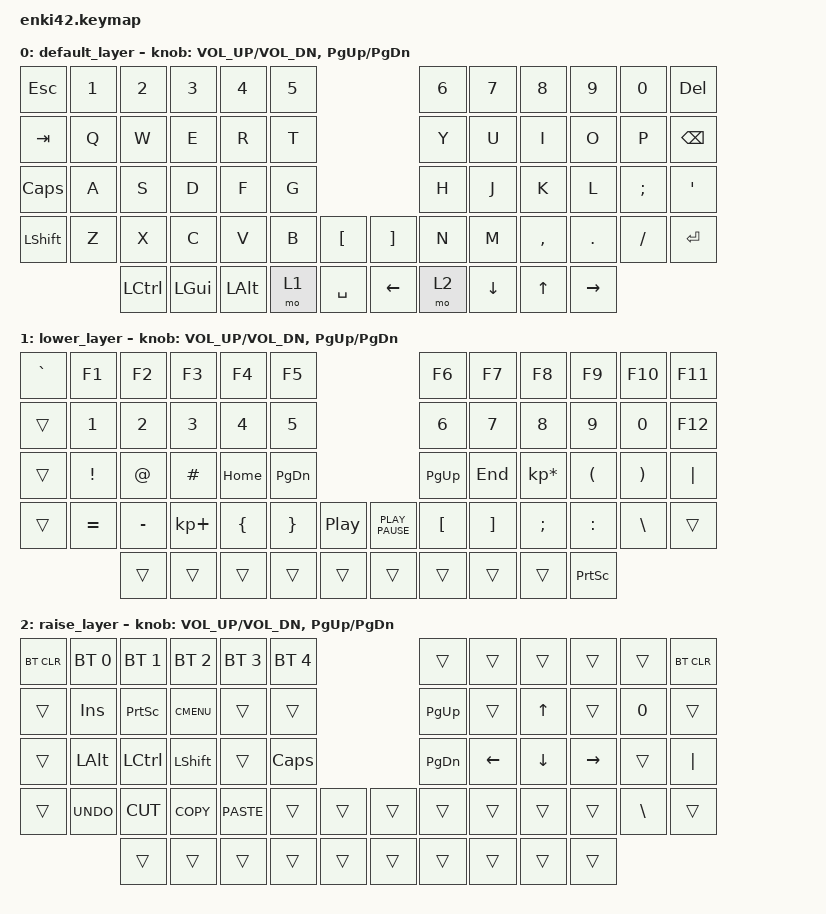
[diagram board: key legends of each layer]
/*
 * Copyright (c) 2020 The ZMK Contributors
 *
 * SPDX-License-Identifier: MIT
 */

#include <behaviors.dtsi>
#include <dt-bindings/zmk/keys.h>
#include <dt-bindings/zmk/bt.h>

#include <dt-bindings/zmk/ext_power.h>

#define DEF 0
#define LWR 1
#define RSE 2
#define ADJ 3

&lt { quick_tap_ms = <220>; };
&mt { quick_tap_ms = <220>; };

/ {
    macros {
        numdot: numdot {
            label = "ZM_numdot";
            compatible = "zmk,behavior-macro";
            #binding-cells = <0>;
            wait-ms = <40>;
            tap-ms = <40>;
            bindings
                = <&macro_press   &kp LALT>    
                , <&macro_tap     &kp KP_N4 &kp KP_N6>    
                , <&macro_release &kp LALT>
                ;
        };
        grtsgn: grtsgn {
            label = "ZM_grtsgn";
            compatible = "zmk,behavior-macro";
            #binding-cells = <0>;
            wait-ms = <40>;
            tap-ms = <40>;
            bindings
                = <&macro_press   &kp LALT>    
                , <&macro_tap     &kp KP_N6 &kp KP_N2>    
                , <&macro_release &kp LALT>
                ;
        };
    };
};
{
    keymap {
        compatible = "zmk,keymap";

        default_layer {
            // ------------------------------------------------------------------------------------------------------------
            // |  `    |  1  |  2  |  3   |  4   |  5   |                         |  6   |  7    |  8    |  9   |   0   |       |
            // |  ESC  |  Q  |  W  |  E   |  R   |  T   |                         |  Y   |  U    |  I    |  O   |   P   | BKSPC |
            // |  TAB  |  A  |  S  |  D   |  F   |  G   |                         |  H   |  J    |  K    |  L   |   ;   |   '   |
            // | SHIFT |  Z  |  X  |  C   |  V   |  B   |  MUTE  |        | ExtPw |  N   |  M    |  ,    |  .   |   /   | SHIFT |
            //               | GUI | ALT  | CTRL | LOWER|  ENTER |        | SPACE | RAISE| CTRL  | ALT   | GUI  |

            bindings = <
&kp ESCAPE    &kp N1  &kp N2            &kp N3        &kp N4        &kp N5                                         &kp N6  &kp N7          &kp N8        &kp N9           &kp N0    &kp DELETE
&kp TAB       &kp Q   &kp W             &kp E         &kp R         &kp T                                          &kp Y   &kp U           &kp I         &kp O            &kp P     &kp BSPC
&kp CAPSLOCK  &kp A   &kp S             &kp D         &kp F         &kp G                                          &kp H   &kp J           &kp K         &kp L            &kp SEMI  &kp SQT
&kp LSHFT     &kp Z   &kp X             &kp C         &kp V         &kp B   &kp LEFT_BRACKET    &kp RIGHT_BRACKET  &kp N   &kp M           &kp COMMA     &kp DOT          &kp FSLH  &kp ENTER
                      &kp LEFT_CONTROL  &kp LEFT_GUI  &kp LEFT_ALT  &mo 1   &kp SPACE           &kp LEFT_ARROW     &mo 2   &kp DOWN_ARROW  &kp UP_ARROW  &kp RIGHT_ARROW
            >;

            sensor-bindings = <&inc_dec_kp C_VOL_UP C_VOL_DN &inc_dec_kp PG_UP PG_DN>;
        };

        lower_layer {
            // TODO: Some binds are waiting for shifted keycode support.
            // ------------------------------------------------------------------------------------------------------------
            // |       |  F1 |  F2 |  F3  |  F4  |  F5  |                   |  F6  |  F7   |  F8   |  F9  |  F10  |  F11  |
            // | `     |   1 |   2 |   3  |   4  |   5  |                   |   6  |   7   |   8   |   9  |    0  |  F12  |
            // |       |  !  |  @  |  #   |  $   |  %   |                   |  ^   |  &    |  *    |  (   |   )   |   |   |
            // |       |  =  |  -  |  +   |  {   |  }   |        |  |       |  [   |  ]    |  ;    |  :   |   \   |       |
            //               |     |      |      |      |        |  |       |      |       |       |      |

            bindings = <
&kp GRAVE  &kp F1     &kp F2     &kp F3       &kp F4    &kp F5                                               &kp F6       &kp F7    &kp F8           &kp F9           &kp F10   &kp F11
&trans     &kp N1     &kp N2     &kp N3       &kp N4    &kp N5                                               &kp N6       &kp N7    &kp N8           &kp N9           &kp N0    &kp F12
&trans     &kp EXCL   &kp AT     &kp HASH     &kp HOME  &kp PAGE_DOWN                                        &kp PAGE_UP  &kp END   &kp KP_MULTIPLY  &kp LPAR         &kp RPAR  &kp PIPE
&trans     &kp EQUAL  &kp MINUS  &kp KP_PLUS  &kp LBRC  &kp RBRC       &kp C_PLAY_PAUSE    &kp K_PLAY_PAUSE  &kp LBKT     &kp RBKT  &kp SEMI         &kp COLON        &kp BSLH  &trans
                      &trans     &trans       &trans    &trans         &trans              &trans            &trans       &trans    &trans           &kp PRINTSCREEN
            >;

            sensor-bindings = <&inc_dec_kp C_VOL_UP C_VOL_DN &inc_dec_kp PG_UP PG_DN>;
        };

        raise_layer {
            // ------------------------------------------------------------------------------------------------------------
            // |BTCLR| BT1  | BT2  |  BT3  |  BT4  |  BT5 |                |      |      |       |      |       |       |
            // |     | INS  | PSCR | GUI   |       |      |                | PGUP |      |   ^   |      |       |       |
            // |     | ALT  | CTRL | SHIFT |       | CAPS |                | PGDN |   <- |   v   |  ->  |  DEL  | BKSPC |
            // |     | UNDO | CUT  | COPY  | PASTE |      |      |  |      |      |      |       |      |       |       |
            //              |      |       |       |      |      |  |      |      |      |       |      |

            bindings = <
&bt BT_CLR  &bt BT_SEL 0  &bt BT_SEL 1  &bt BT_SEL 2  &bt BT_SEL 3  &bt BT_SEL 4                    &trans     &trans    &trans    &trans     &trans         &bt BT_CLR
&trans      &kp INS       &kp PSCRN     &kp K_CMENU   &trans        &trans                          &kp PG_UP  &trans    &kp UP    &trans     &kp N0         &trans
&trans      &kp LALT      &kp LCTRL     &kp LSHFT     &trans        &kp CLCK                        &kp PG_DN  &kp LEFT  &kp DOWN  &kp RIGHT  &trans         &kp PIPE
&trans      &kp K_UNDO    &kp K_CUT     &kp K_COPY    &kp K_PASTE   &trans        &trans    &trans  &trans     &trans    &trans    &trans     &kp BACKSLASH  &trans
                          &trans        &trans        &trans        &trans        &trans    &trans  &trans     &trans    &trans    &trans
            >;

            sensor-bindings = <&inc_dec_kp C_VOL_UP C_VOL_DN &inc_dec_kp PG_UP PG_DN>;
        };
    };
};
